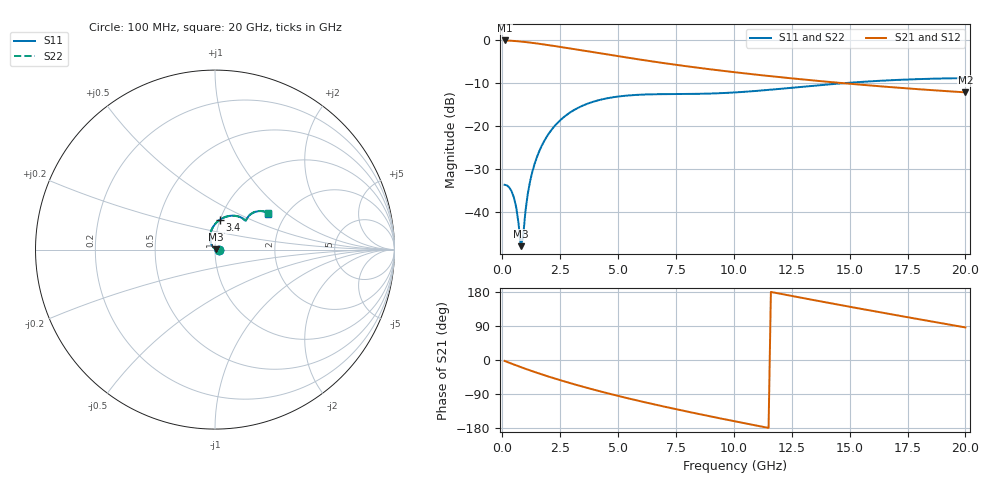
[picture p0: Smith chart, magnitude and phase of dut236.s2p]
! Touchstone file exported from HFSS 2024.1.0
!  File:  C:/UserFiles/LocalFiles/RDL_TSV_Batchsim/temp_RDL_TSV_236_1779452868.aedt
!  Generated:  08:42:54 PM May 22, 2026
!  Design:  RDL_TSV
!  Project:  temp_RDL_TSV_236_1779452868
!  Setup:  Setup1
!  Solution:  Sweep
! Variables:
!  dtsv = 14.6um
!  hbump = 3um
!  htsv = 80.83um
!  ldown = 609.31um
!  lrdl = 501.29um
!  p = 40
!  p1 = 46.66um
!  rhole = 10um
!  subl = 3833.09um
!  t = 450um
!  tdown = 3.75um
!  trdl = 3.48um
!  viad = 10um
!  wdown = 21.38um
!  wrdl = 15.91um
!  xbump = 18um
# GHz S MA R 50.000000
! Terminal data exported
! Port[1] = TM1_1_T1
! Port[2] = TM1_4_T1
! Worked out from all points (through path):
!   200 points, 100 MHz to 20 GHz, reference 50 ohm
!   highest |S21| = -0.19 dB at 100 MHz (marker M1); lowest = -12.2 dB at 20 GHz (marker M2)
!   group delay of S21, straight-line fit = 36.1 ps
!   lowest |S11| = -47.9 dB at 800 MHz (marker M3), VSWR 1.01, Z = 50.3 + j0.232 ohm
!   |S11| at or under -10 dB: start of sweep to 14.98 GHz
!   |S22| runs from -47.9 to -8.9 dB; largest |S21 - S12| = 9.5e-15
!   S11 on the Smith chart (normalised r, x): 100 MHz: 1.04, -0.00; 3.4 GHz: 1.00, +0.34; 20 GHz: 1.63, +0.75
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0.1  0.02075 -0.0  0.9784 -2.4  0.9784 -2.4  0.02075 -0.0
! Gamma 0 0 0 0
! Port Impedance 50 0 50 0
0.3  0.01936 -2.6  0.9735 -7.2  0.9735 -7.2  0.01937 -2.6
0.5  0.01479 -5.5  0.9659 -11.9  0.9659 -11.9  0.0148 -5.5
0.6  0.01139 -4.6  0.9614 -14.2  0.9614 -14.2  0.0114 -4.6
0.7  0.007495 2.3  0.9563 -16.5  0.9563 -16.5  0.007505 2.2
0.8  0.004027 34.9  0.9508 -18.8  0.9508 -18.8  0.004028 34.6
0.9  0.005214 101.5  0.9448 -21.0  0.9448 -21.0  0.005192 101.4
1  0.01025 121.8  0.9384 -23.2  0.9384 -23.2  0.01022 121.8
1.2  0.02272 126.8  0.9248 -27.5  0.9248 -27.5  0.02269 126.8
1.4  0.03656 123.9  0.9102 -31.7  0.9102 -31.7  0.03651 124.0
1.6  0.05111 119.5  0.895 -35.8  0.895 -35.8  0.05105 119.6
1.9  0.07338 112.3  0.8715 -41.8  0.8715 -41.8  0.07331 112.3
2.3  0.1024 102.9  0.8397 -49.5  0.8397 -49.5  0.1023 102.9
3.4  0.1682 80.9  0.7543 -69.1  0.7543 -69.1  0.1681 80.9
3.5  0.1729 79.2  0.7468 -70.8  0.7468 -70.8  0.1728 79.2
5.1  0.2206 58.4  0.637 -96.2  0.637 -96.2  0.2203 58.4
6.8  0.2332 46.9  0.5428 -120.4  0.5428 -120.4  0.2328 46.9
8.4  0.2352 43.4  0.474 -141.4  0.474 -141.4  0.2348 43.5
10.1  0.2447 44.0  0.417 -162.5  0.417 -162.5  0.2444 44.1
13.4  0.2915 44.2  0.3369 158.7  0.3369 158.7  0.2915 44.4
16.7  0.3376 39.4  0.2824 121.7  0.2824 121.7  0.3377 39.5
20  0.3582 34.0  0.2448 85.9  0.2448 85.9  0.3584 34.2
